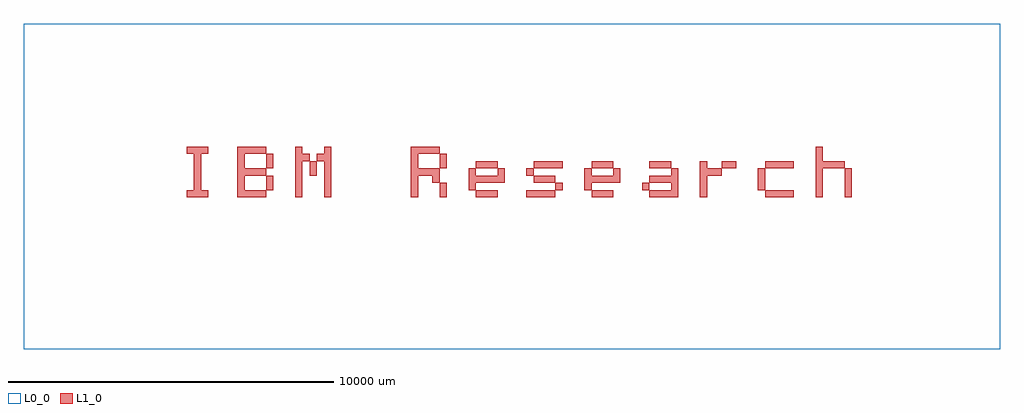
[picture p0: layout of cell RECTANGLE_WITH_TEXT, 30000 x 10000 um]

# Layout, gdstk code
import gdstk
lib = gdstk.Library(unit=1e-6, precision=1e-09)
def R(c, l, rs):  # rectangles x0, y0, x1, y1
    for r in rs: c.add(gdstk.rectangle(r[:2], r[2:], *l))
def P(c, l, *ps):  # polygons
    for p in ps: c.add(gdstk.Polygon(p, *l))
L0_0 = (0, 0)
L1_0 = (1, 0)

rectangle_with_text = lib.new_cell('RECTANGLE_WITH_TEXT')
R(rectangle_with_text, L0_0, [(-15000,-5000,15000,5000)])
R(rectangle_with_text, L1_0, [(1333.333,-111.111,1555.556,111.111), (4000,-111.111,4222.222,111.111), (444.444,333.333,666.667,555.556)])
P(rectangle_with_text, L1_0, [(-10000,-333.333),(-9777.778,-333.333),(-9555.556,-333.333),(-9333.333,-333.333),(-9333.333,-111.111),(-9555.556,-111.111),(-9555.556,111.111),(-9555.556,333.333),(-9555.556,555.556),(-9555.556,777.778),(-9555.556,1000),(-9333.333,1000),(-9333.333,1222.222),(-9555.556,1222.222),(-9777.778,1222.222),(-10000,1222.222),(-10000,1000),(-9777.778,1000),(-9777.778,777.778),(-9777.778,555.556),(-9777.778,333.333),(-9777.778,111.111),(-9777.778,-111.111),(-10000,-111.111)],
  [(-8444.444,-333.333),(-8222.222,-333.333),(-8000,-333.333),(-7777.778,-333.333),(-7555.556,-333.333),(-7555.556,-111.111),(-7777.778,-111.111),(-8000,-111.111),(-8222.222,-111.111),(-8222.222,111.111),(-8222.222,333.333),(-8000,333.333),(-7777.778,333.333),(-7555.556,333.333),(-7555.556,555.556),(-7777.778,555.556),(-8000,555.556),(-8222.222,555.556),(-8222.222,777.778),(-8222.222,1000),(-8000,1000),(-7777.778,1000),(-7555.556,1000),(-7555.556,1222.222),(-7777.778,1222.222),(-8000,1222.222),(-8222.222,1222.222),(-8444.444,1222.222),(-8444.444,1000),(-8444.444,777.778),(-8444.444,555.556),(-8444.444,333.333),(-8444.444,111.111),(-8444.444,-111.111)],
  [(-7555.556,-111.111),(-7333.333,-111.111),(-7333.333,111.111),(-7333.333,333.333),(-7555.556,333.333),(-7555.556,111.111)],
  [(-7555.556,555.556),(-7333.333,555.556),(-7333.333,777.778),(-7333.333,1000),(-7555.556,1000),(-7555.556,777.778)],
  [(-6666.667,-333.333),(-6444.444,-333.333),(-6444.444,-111.111),(-6444.444,111.111),(-6444.444,333.333),(-6444.444,555.556),(-6444.444,777.778),(-6222.222,777.778),(-6222.222,1000),(-6444.444,1000),(-6444.444,1222.222),(-6666.667,1222.222),(-6666.667,1000),(-6666.667,777.778),(-6666.667,555.556),(-6666.667,333.333),(-6666.667,111.111),(-6666.667,-111.111)],
  [(-6222.222,333.333),(-6000,333.333),(-6000,555.556),(-6000,777.778),(-6222.222,777.778),(-6222.222,555.556)],
  [(-6000,777.778),(-5777.778,777.778),(-5777.778,555.556),(-5777.778,333.333),(-5777.778,111.111),(-5777.778,-111.111),(-5777.778,-333.333),(-5555.556,-333.333),(-5555.556,-111.111),(-5555.556,111.111),(-5555.556,333.333),(-5555.556,555.556),(-5555.556,777.778),(-5555.556,1000),(-5555.556,1222.222),(-5777.778,1222.222),(-5777.778,1000),(-6000,1000)],
  [(-3111.111,-333.333),(-2888.889,-333.333),(-2888.889,-111.111),(-2888.889,111.111),(-2888.889,333.333),(-2666.667,333.333),(-2444.444,333.333),(-2444.444,111.111),(-2222.222,111.111),(-2222.222,333.333),(-2222.222,555.556),(-2444.444,555.556),(-2666.667,555.556),(-2888.889,555.556),(-2888.889,777.778),(-2888.889,1000),(-2666.667,1000),(-2444.444,1000),(-2222.222,1000),(-2222.222,1222.222),(-2444.444,1222.222),(-2666.667,1222.222),(-2888.889,1222.222),(-3111.111,1222.222),(-3111.111,1000),(-3111.111,777.778),(-3111.111,555.556),(-3111.111,333.333),(-3111.111,111.111),(-3111.111,-111.111)],
  [(-2222.222,-333.333),(-2000,-333.333),(-2000,-111.111),(-2000,111.111),(-2222.222,111.111),(-2222.222,-111.111)],
  [(-2222.222,555.556),(-2000,555.556),(-2000,777.778),(-2000,1000),(-2222.222,1000),(-2222.222,777.778)],
  [(-1333.333,-111.111),(-1111.111,-111.111),(-1111.111,111.111),(-888.889,111.111),(-666.667,111.111),(-444.444,111.111),(-222.222,111.111),(-222.222,333.333),(-222.222,555.556),(-444.444,555.556),(-444.444,333.333),(-666.667,333.333),(-888.889,333.333),(-1111.111,333.333),(-1111.111,555.556),(-1333.333,555.556),(-1333.333,333.333),(-1333.333,111.111)],
  [(-1111.111,-333.333),(-888.889,-333.333),(-666.667,-333.333),(-444.444,-333.333),(-444.444,-111.111),(-666.667,-111.111),(-888.889,-111.111),(-1111.111,-111.111)],
  [(-1111.111,555.556),(-888.889,555.556),(-666.667,555.556),(-444.444,555.556),(-444.444,777.778),(-666.667,777.778),(-888.889,777.778),(-1111.111,777.778)],
  [(444.444,-333.333),(666.667,-333.333),(888.889,-333.333),(1111.111,-333.333),(1333.333,-333.333),(1333.333,-111.111),(1111.111,-111.111),(888.889,-111.111),(666.667,-111.111),(444.444,-111.111)],
  [(666.667,111.111),(888.889,111.111),(1111.111,111.111),(1333.333,111.111),(1333.333,333.333),(1111.111,333.333),(888.889,333.333),(666.667,333.333)],
  [(666.667,555.556),(888.889,555.556),(1111.111,555.556),(1333.333,555.556),(1555.556,555.556),(1555.556,777.778),(1333.333,777.778),(1111.111,777.778),(888.889,777.778),(666.667,777.778)],
  [(2222.222,-111.111),(2444.444,-111.111),(2444.444,111.111),(2666.667,111.111),(2888.889,111.111),(3111.111,111.111),(3333.333,111.111),(3333.333,333.333),(3333.333,555.556),(3111.111,555.556),(3111.111,333.333),(2888.889,333.333),(2666.667,333.333),(2444.444,333.333),(2444.444,555.556),(2222.222,555.556),(2222.222,333.333),(2222.222,111.111)],
  [(2444.444,-333.333),(2666.667,-333.333),(2888.889,-333.333),(3111.111,-333.333),(3111.111,-111.111),(2888.889,-111.111),(2666.667,-111.111),(2444.444,-111.111)],
  [(2444.444,555.556),(2666.667,555.556),(2888.889,555.556),(3111.111,555.556),(3111.111,777.778),(2888.889,777.778),(2666.667,777.778),(2444.444,777.778)],
  [(4222.222,-333.333),(4444.444,-333.333),(4666.667,-333.333),(4888.889,-333.333),(5111.111,-333.333),(5111.111,-111.111),(5111.111,111.111),(5111.111,333.333),(5111.111,555.556),(4888.889,555.556),(4888.889,333.333),(4666.667,333.333),(4444.444,333.333),(4222.222,333.333),(4222.222,111.111),(4444.444,111.111),(4666.667,111.111),(4888.889,111.111),(4888.889,-111.111),(4666.667,-111.111),(4444.444,-111.111),(4222.222,-111.111)],
  [(4222.222,555.556),(4444.444,555.556),(4666.667,555.556),(4888.889,555.556),(4888.889,777.778),(4666.667,777.778),(4444.444,777.778),(4222.222,777.778)],
  [(5777.778,-333.333),(6000,-333.333),(6000,-111.111),(6000,111.111),(6000,333.333),(6222.222,333.333),(6444.444,333.333),(6444.444,555.556),(6222.222,555.556),(6000,555.556),(6000,777.778),(5777.778,777.778),(5777.778,555.556),(5777.778,333.333),(5777.778,111.111),(5777.778,-111.111)],
  [(6444.444,555.556),(6666.667,555.556),(6888.889,555.556),(6888.889,777.778),(6666.667,777.778),(6444.444,777.778)],
  [(7555.556,-111.111),(7777.778,-111.111),(7777.778,111.111),(7777.778,333.333),(7777.778,555.556),(7555.556,555.556),(7555.556,333.333),(7555.556,111.111)],
  [(7777.778,-333.333),(8000,-333.333),(8222.222,-333.333),(8444.444,-333.333),(8666.667,-333.333),(8666.667,-111.111),(8444.444,-111.111),(8222.222,-111.111),(8000,-111.111),(7777.778,-111.111)],
  [(7777.778,555.556),(8000,555.556),(8222.222,555.556),(8444.444,555.556),(8666.667,555.556),(8666.667,777.778),(8444.444,777.778),(8222.222,777.778),(8000,777.778),(7777.778,777.778)],
  [(9333.333,-333.333),(9555.556,-333.333),(9555.556,-111.111),(9555.556,111.111),(9555.556,333.333),(9555.556,555.556),(9777.778,555.556),(10000,555.556),(10222.222,555.556),(10222.222,777.778),(10000,777.778),(9777.778,777.778),(9555.556,777.778),(9555.556,1000),(9555.556,1222.222),(9333.333,1222.222),(9333.333,1000),(9333.333,777.778),(9333.333,555.556),(9333.333,333.333),(9333.333,111.111),(9333.333,-111.111)],
  [(10222.222,-333.333),(10444.444,-333.333),(10444.444,-111.111),(10444.444,111.111),(10444.444,333.333),(10444.444,555.556),(10222.222,555.556),(10222.222,333.333),(10222.222,111.111),(10222.222,-111.111)])

lib.write_gds('RECTANGLE_WITH_TEXT.gds')
